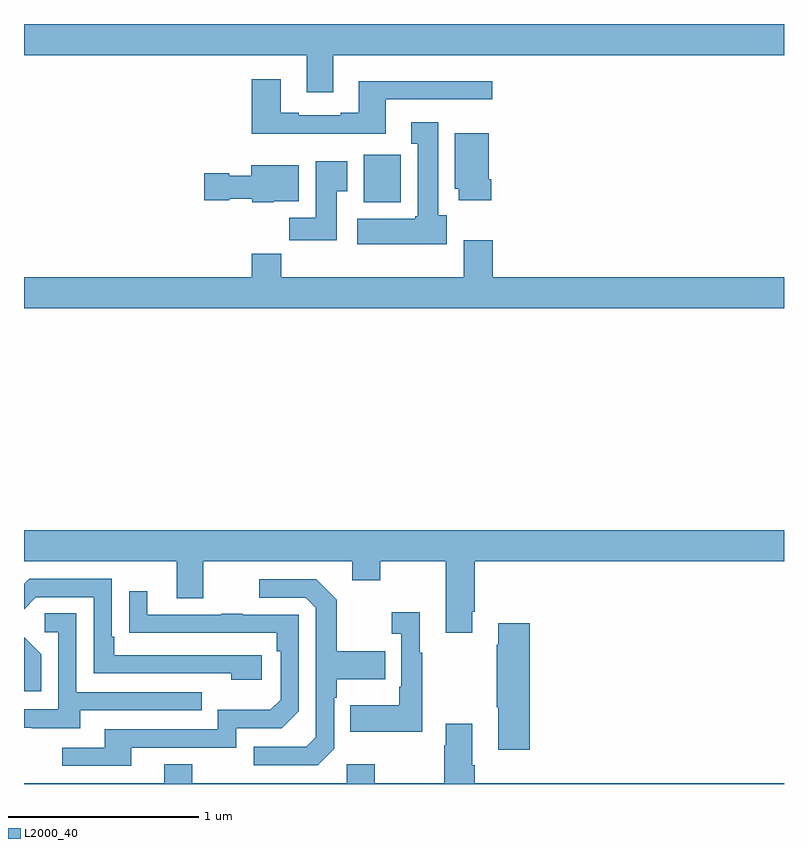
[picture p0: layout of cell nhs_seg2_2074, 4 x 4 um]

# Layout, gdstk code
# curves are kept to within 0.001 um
import gdstk
lib = gdstk.Library(unit=1e-6, precision=1e-09)
def R(c, l, rs):  # rectangles x0, y0, x1, y1
    for r in rs: c.add(gdstk.rectangle(r[:2], r[2:], *l))
def P(c, l, *ps):  # polygons
    for p in ps: c.add(gdstk.Polygon(p, *l))
L2000_40 = (2000, 40)

nhs_seg2_2074 = lib.new_cell('nhs_seg2_2074')
R(nhs_seg2_2074, L2000_40, [(220.787,646.862,220.983,647.113)])
P(nhs_seg2_2074, L2000_40, [(220.627,647.636),(223,647.636),(223,647.8),(219,647.8),(219,647.636),(220.487,647.636),(220.487,647.442),(220.627,647.442)],
  [(220.903,647.403),(221.464,647.403),(221.464,647.5),(220.763,647.5),(220.763,647.332),(220.667,647.332),(220.667,647.319),(220.447,647.319),(220.447,647.332),(220.351,647.332),(220.351,647.509),(220.199,647.509),(220.199,647.222),(220.903,647.222)],
  [(221.224,646.794),(221.179,646.794),(221.179,647.284),(221.039,647.284),(221.039,647.171),(221.072,647.171),(221.072,646.788),(221.059,646.788),(221.059,646.774),(220.755,646.774),(220.755,646.64),(221.224,646.64)],
  [(221.459,646.984),(221.446,646.984),(221.446,647.224),(221.267,647.224),(221.267,646.932),(221.288,646.932),(221.288,646.872),(221.459,646.872)],
  [(220.645,646.921),(220.702,646.921),(220.702,647.077),(220.535,647.077),(220.535,646.78),(220.396,646.78),(220.396,646.662),(220.645,646.662)],
  [(220.314,646.868),(220.447,646.868),(220.447,647.056),(220.196,647.056),(220.196,647.002),(220.08,647.002),(220.08,647.015),(219.948,647.015),(219.948,646.873),(220.08,646.873),(220.08,646.88),(220.2,646.88),(220.2,646.862),(220.314,646.862)],
  [(223,646.468),(221.468,646.468),(221.468,646.663),(221.315,646.663),(221.315,646.468),(220.355,646.468),(220.355,646.592),(220.199,646.592),(220.199,646.468),(219,646.468),(219,646.304),(223,646.304)],
  [(221.359,644.707),(221.372,644.707),(221.372,644.972),(223,644.972),(223,645.136),(219,645.136),(219,644.972),(219.803,644.972),(219.803,644.778),(219.943,644.778),(219.943,644.972),(220.727,644.972),(220.727,644.873),(220.875,644.873),(220.875,644.972),(221.219,644.972),(221.219,644.595),(221.359,644.595)],
  [(220.252,644.478),(219.475,644.478),(219.475,644.575),(219.462,644.575),(219.462,644.88),(219.027,644.88),(219,644.853),(219,644.721),(219.063,644.784),(219.366,644.784),(219.366,644.382),(220.091,644.382),(220.091,644.348),(220.252,644.348)],
  [(220.632,643.986),(220.632,644.255),(220.645,644.255),(220.645,644.351),(220.901,644.351),(220.901,644.499),(220.645,644.499),(220.645,644.771),(220.539,644.877),(220.239,644.877),(220.239,644.781),(220.482,644.781),(220.536,644.727),(220.536,644.046),(220.485,643.995),(220.209,643.995),(220.209,643.899),(220.545,643.899)],
  [(219.565,643.992),(220.116,643.992),(220.116,644.094),(220.356,644.094),(220.446,644.184),(220.446,644.691),(220.151,644.691),(220.151,644.696),(220.039,644.696),(220.039,644.691),(219.649,644.691),(219.649,644.815),(219.553,644.815),(219.553,644.596),(220.33,644.595),(220.33,644.498),(220.35,644.498),(220.35,644.244),(220.297,644.191),(220.02,644.191),(220.02,644.088),(219.425,644.088),(219.425,643.992),(219.201,643.992),(219.201,643.896),(219.565,643.896)],
  [(221.095,644.491),(221.083,644.491),(221.083,644.704),(220.935,644.704),(220.935,644.591),(220.986,644.591),(220.986,644.311),(220.974,644.311),(220.974,644.215),(220.717,644.215),(220.717,644.075),(221.095,644.075)],
  [(219.295,644.187),(219.935,644.187),(219.935,644.283),(219.276,644.283),(219.276,644.699),(219.108,644.699),(219.108,644.598),(219.18,644.598),(219.18,644.193),(219,644.193),(219,644.097),(219.041,644.097),(219.041,644.093),(219.295,644.093)],
  [(221.663,644.647),(221.495,644.647),(221.495,644.534),(221.488,644.534),(221.488,644.203),(221.495,644.203),(221.495,643.98),(221.663,643.98)],
  [(219.09,644.482),(219,644.572),(219,644.289),(219.09,644.289)],
  [(223,643.804),(221.372,643.804),(221.372,643.9),(221.359,643.9),(221.359,644.116),(221.219,644.116),(221.219,644.003),(221.212,644.003),(221.212,643.804),(220.845,643.804),(220.845,643.903),(220.698,643.903),(220.698,643.804),(219.885,643.804),(219.885,643.903),(219.737,643.903),(219.737,643.804),(219,643.804),(219,643.8),(223,643.8)])

lib.write_gds('nhs_seg2_2074.gds')
